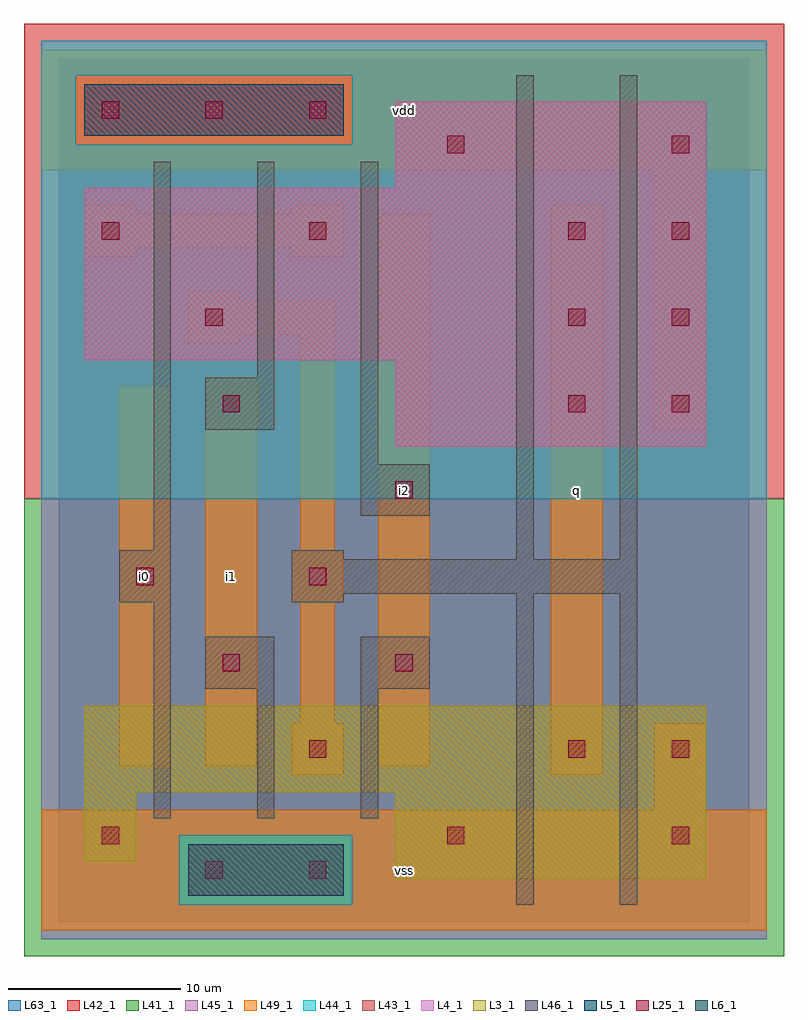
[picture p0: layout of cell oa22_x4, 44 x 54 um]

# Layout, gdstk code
import gdstk
lib = gdstk.Library(unit=1e-6, precision=1e-09)
def R(c, l, rs):  # rectangles x0, y0, x1, y1
    for r in rs: c.add(gdstk.rectangle(r[:2], r[2:], *l))
def A(c, l, x, y, w, h, nx, ny, dx, dy):  # array of equal rectangles
    R(c, l, [(x+i*dx, y+j*dy, x+i*dx+w, y+j*dy+h) for i in range(nx) for j in range(ny)])
L3_1 = (3, 1)
L4_1 = (4, 1)
L5_1 = (5, 1)
L6_1 = (6, 1)
L25_1 = (25, 1)
L41_1 = (41, 1)
L42_1 = (42, 1)
L43_1 = (43, 1)
L44_1 = (44, 1)
L45_1 = (45, 1)
L46_1 = (46, 1)
L49_1 = (49, 1)
L63_1 = (63, 1)

oa22_x4 = lib.new_cell('oa22_x4')
R(oa22_x4, L3_1, [(19.5,2.5,37.5,7.5), (1.5,3.5,4.5,7.5), (1.5,7.5,37.5,12.5)])
R(oa22_x4, L4_1, [(19.5,27.5,37.5,32.5), (1.5,32.5,37.5,42.5), (19.5,42.5,37.5,47.5)])
R(oa22_x4, L5_1, [(1.5,45.5,16.5,48.5)])
R(oa22_x4, L6_1, [(7.5,1.5,16.5,4.5)])
A(oa22_x4, L25_1, 29.5, 29.5, 1, 1, 1, 3, 0, 5)
A(oa22_x4, L25_1, 35.5, 29.5, 1, 1, 1, 4, 0, 5)
A(oa22_x4, L25_1, 2.5, 46.5, 1, 1, 3, 1, 6, 0)
R(oa22_x4, L25_1, [(8.5,2.5,9.5,3.5), (14.5,2.5,15.5,3.5), (2.5,4.5,3.5,5.5), (22.5,4.5,23.5,5.5), (35.5,4.5,36.5,5.5), (14.5,9.5,15.5,10.5), (29.5,9.5,30.5,10.5), (35.5,9.5,36.5,10.5), (9.5,14.5,10.5,15.5), (19.5,14.5,20.5,15.5), (4.5,19.5,5.5,20.5), (14.5,19.5,15.5,20.5), (19.5,24.5,20.5,25.5), (9.5,29.5,10.5,30.5), (8.5,34.5,9.5,35.5), (2.5,39.5,3.5,40.5), (14.5,39.5,15.5,40.5), (22.5,44.5,23.5,45.5)])
R(oa22_x4, L41_1, [(-2,-2,42,24.5)])
R(oa22_x4, L42_1, [(-2,24.5,42,52)])
R(oa22_x4, L43_1, [(7.5,1.5,16.5,4.5), (19.5,2.5,37.5,7.5), (1.5,3.5,4.5,7.5), (1.5,7.5,37.5,12.5), (19.5,27.5,37.5,32.5), (1.5,32.5,37.5,42.5), (19.5,42.5,37.5,47.5), (1.5,45.5,16.5,48.5)])
R(oa22_x4, L44_1, [(7,1,17,5), (-1,24.5,41,45), (-1,45,1,49), (17,45,41,49), (-1,49,41,51)])
R(oa22_x4, L45_1, [(-1,-1,41,1), (-1,1,7,5), (17,1,41,5), (-1,5,41,24.5), (1,45,17,49)])
R(oa22_x4, L46_1, [(26.5,1,27.5,19), (32.5,1,33.5,19), (5.5,6,6.5,18.5), (11.5,6,12.5,13.5), (17.5,6,18.5,13.5), (8.5,13.5,12.5,16.5), (17.5,13.5,21.5,16.5), (3.5,18.5,6.5,21.5), (13.5,18.5,16.5,19), (13.5,19,33.5,21), (13.5,21,16.5,21.5), (26.5,21,27.5,49), (32.5,21,33.5,49), (5.5,21.5,6.5,44), (17.5,23.5,21.5,26.5), (17.5,26.5,18.5,44), (8.5,28.5,12.5,31.5), (11.5,31.5,12.5,44)])
R(oa22_x4, L49_1, [(-1,-0.5,41,6.5), (34.5,6.5,37.5,11.5), (13.5,8.5,16.5,11.5), (28.5,8.5,31.5,41.5), (3.5,9,6.5,31), (8.5,9,11.5,31.5), (18.5,9,21.5,41), (14,11.5,16,18.5), (13.5,18.5,16.5,21.5), (14,21.5,16,34), (34.5,28.5,37.5,43.5), (7.5,33.5,10.5,34), (7.5,34,16,36), (7.5,36,10.5,36.5), (1.5,38.5,4.5,39), (13.5,38.5,16.5,39), (1.5,39,16.5,41), (1.5,41,4.5,41.5), (13.5,41,16.5,41.5), (-1,43.5,41,50.5)])
R(oa22_x4, L63_1, [(0,0,40,50)])
oa22_x4.add(gdstk.Label('i0', (5,20), layer=49, texttype=1))
oa22_x4.add(gdstk.Label('i0', (5,20), layer=49, texttype=1))
oa22_x4.add(gdstk.Label('i1', (10,20), layer=49, texttype=1))
oa22_x4.add(gdstk.Label('i1', (10,20), layer=49, texttype=1))
oa22_x4.add(gdstk.Label('vss', (20,3), layer=49, texttype=1))
oa22_x4.add(gdstk.Label('vss', (20,3), layer=49, texttype=1))
oa22_x4.add(gdstk.Label('q', (30,25), layer=49, texttype=1))
oa22_x4.add(gdstk.Label('q', (30,25), layer=49, texttype=1))
oa22_x4.add(gdstk.Label('i2', (20,25), layer=49, texttype=1))
oa22_x4.add(gdstk.Label('i2', (20,25), layer=49, texttype=1))
oa22_x4.add(gdstk.Label('vdd', (20,47), layer=49, texttype=1))
oa22_x4.add(gdstk.Label('vdd', (20,47), layer=49, texttype=1))

lib.write_gds('oa22_x4.gds')
